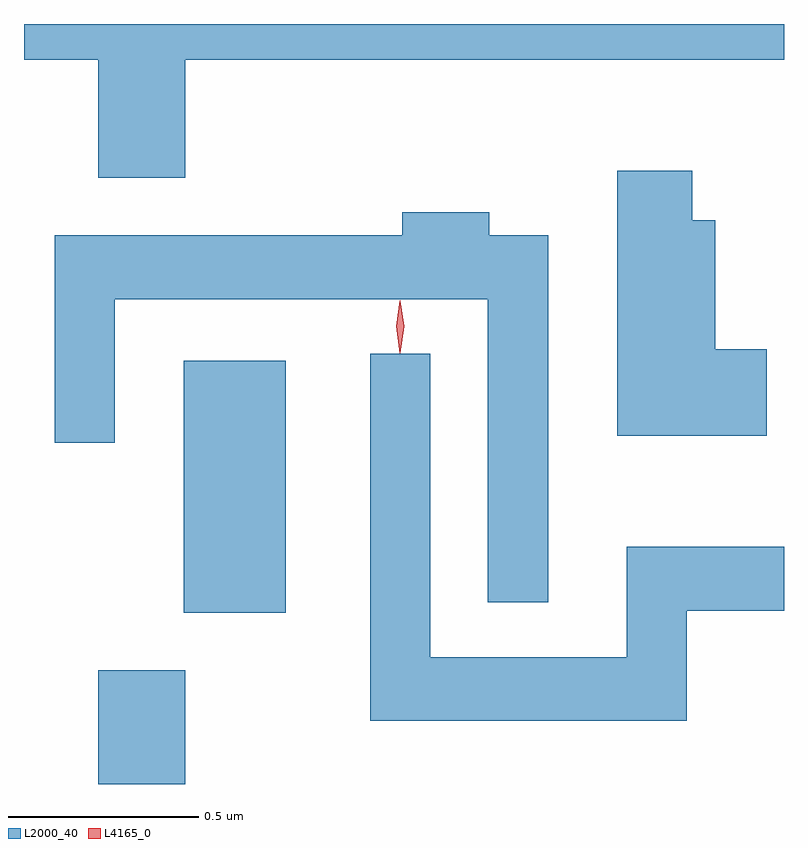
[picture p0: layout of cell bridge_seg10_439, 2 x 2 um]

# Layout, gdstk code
import gdstk
lib = gdstk.Library(unit=1e-6, precision=1e-09)
def R(c, l, rs):  # rectangles x0, y0, x1, y1
    for r in rs: c.add(gdstk.rectangle(r[:2], r[2:], *l))
def P(c, l, *ps):  # polygons
    for p in ps: c.add(gdstk.Polygon(p, *l))
L2000_40 = (2000, 40)
L4165_0 = (4165, 0)

bridge_seg10_439 = lib.new_cell('bridge_seg10_439')
R(bridge_seg10_439, L2000_40, [(1416.061,2087.59,1416.289,2087.889), (1416.286,2088.041,1416.554,2088.704)])
P(bridge_seg10_439, L2000_40, [(1416.289,2089.496),(1417.865,2089.496),(1417.865,2089.59),(1415.865,2089.59),(1415.865,2089.496),(1416.061,2089.496),(1416.061,2089.186),(1416.289,2089.186)],
  [(1417.819,2088.734),(1417.684,2088.734),(1417.684,2089.074),(1417.624,2089.074),(1417.624,2089.204),(1417.426,2089.204),(1417.426,2088.506),(1417.819,2088.506)],
  [(1417.244,2089.034),(1417.089,2089.034),(1417.089,2089.094),(1416.861,2089.094),(1416.861,2089.034),(1415.946,2089.034),(1415.946,2088.488),(1416.104,2088.488),(1416.104,2088.866),(1417.086,2088.866),(1417.086,2088.068),(1417.244,2088.068)],
  [(1417.609,2088.046),(1417.865,2088.046),(1417.865,2088.214),(1417.451,2088.214),(1417.451,2087.924),(1416.934,2087.924),(1416.934,2088.722),(1416.776,2088.722),(1416.776,2087.756),(1417.609,2087.756)])
P(bridge_seg10_439, L4165_0, [(1416.854,2088.724),(1416.845,2088.794),(1416.854,2088.862),(1416.855,2088.863),(1416.855,2088.862),(1416.865,2088.794),(1416.855,2088.724),(1416.855,2088.724)],
  [(1416.854,2088.727),(1416.845,2088.794),(1416.854,2088.86),(1416.855,2088.86),(1416.855,2088.86),(1416.865,2088.794),(1416.855,2088.727),(1416.855,2088.727)])

lib.write_gds('bridge_seg10_439.gds')
